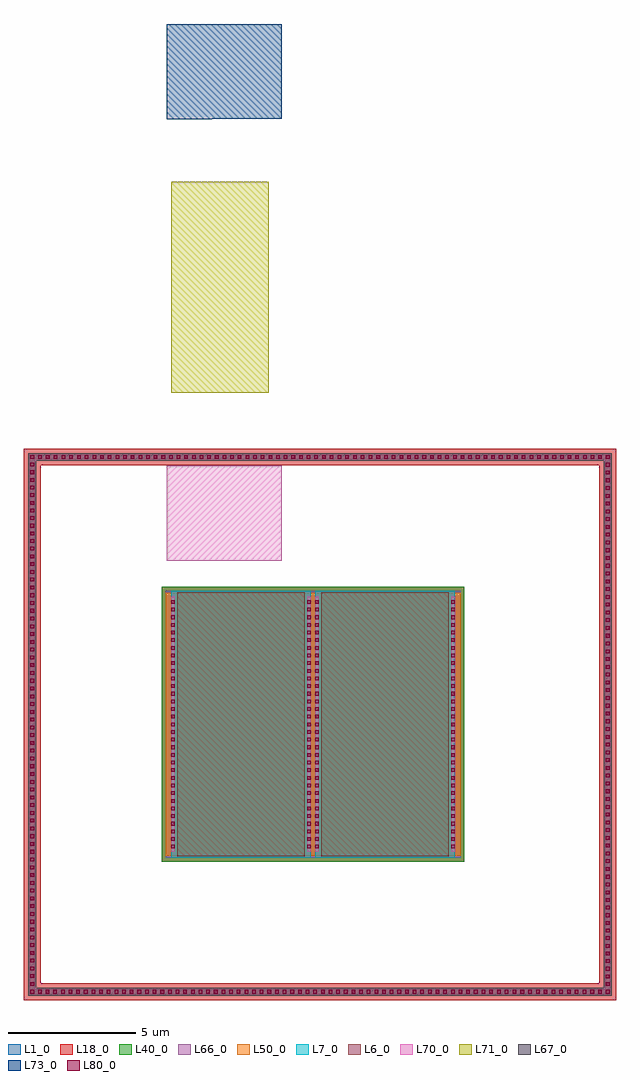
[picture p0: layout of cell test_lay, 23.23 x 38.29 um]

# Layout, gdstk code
import gdstk
lib = gdstk.Library(unit=1e-6, precision=1e-09)
def R(c, l, rs):  # rectangles x0, y0, x1, y1
    for r in rs: c.add(gdstk.rectangle(r[:2], r[2:], *l))
def A(c, l, x, y, w, h, nx, ny, dx, dy):  # array of equal rectangles
    R(c, l, [(x+i*dx, y+j*dy, x+i*dx+w, y+j*dy+h) for i in range(nx) for j in range(ny)])
L1_0 = (1, 0)
L6_0 = (6, 0)
L7_0 = (7, 0)
L18_0 = (18, 0)
L40_0 = (40, 0)
L50_0 = (50, 0)
L66_0 = (66, 0)
L67_0 = (67, 0)
L70_0 = (70, 0)
L71_0 = (71, 0)
L73_0 = (73, 0)
L80_0 = (80, 0)

contact_cdns_78145211178 = lib.new_cell('Contact_CDNS_781452111781')
R(contact_cdns_78145211178, L1_0, [(0,-0.13,0.15,9.87)])
R(contact_cdns_78145211178, L70_0, [(0,-0.13,0.15,9.87)])
A(contact_cdns_78145211178, L80_0, 0.005, 0, 0.14, 0.14, 1, 33, 0, 0.3)

nmos1v2hvt_4_cdns_781452 = lib.new_cell('nmos1v2hvt_4_CDNS_781452111780')
R(nmos1v2hvt_4_cdns_781452, L1_0, [(-0.3,0,0,10), (-0.3,0,5.3,10), (0,0,5,10), (5,0,5.3,10)])
R(nmos1v2hvt_4_cdns_781452, L6_0, [(0,-0.18,5,0), (0,0,5,10), (0,10,5,10.18)])
R(nmos1v2hvt_4_cdns_781452, L7_0, [(-0.24,-0.24,5.24,10.24)])
R(nmos1v2hvt_4_cdns_781452, L18_0, [(-0.6,-0.4,5.6,10.4)])
R(nmos1v2hvt_4_cdns_781452, L40_0, [(-0.6,-0.4,5.6,10.4)])
R(nmos1v2hvt_4_cdns_781452, L50_0, [(-0.46,-0.16,5.46,10.16)])
R(nmos1v2hvt_4_cdns_781452, L66_0, [(-0.46,-0.24,5.46,10.24)])
R(nmos1v2hvt_4_cdns_781452, L70_0, [(-0.245,0,-0.095,10), (5.095,0,5.245,10)])
nmos1v2hvt_4_cdns_781452.add(gdstk.Reference(contact_cdns_78145211178, (5.095,0.13)))
nmos1v2hvt_4_cdns_781452.add(gdstk.Reference(contact_cdns_78145211178, (-0.245,0.13)))

test_lay = lib.new_cell('test_lay')
R(test_lay, L70_0, [(1.145,12.035,2.895,15.765), (2.9,12.04,5.655,15.765)])
R(test_lay, L71_0, [(1.305,18.62,3.285,26.91), (3.29,18.62,5.135,26.91)])
R(test_lay, L73_0, [(1.145,29.36,2.895,33.09), (2.9,29.365,5.655,33.09)])
A(test_lay, L80_0, -4.21, -4.945, 0.14, 0.14, 60, 1, 0.3, 0)
A(test_lay, L80_0, 13.795, -4.945, 0.14, 0.14, 16, 1, 0.305, 0)
A(test_lay, L80_0, 18.37, -4.645, 0.14, 0.14, 1, 13, 0, 0.3)
A(test_lay, L80_0, -4.21, -4.64, 0.14, 0.14, 1, 56, 0, 0.305)
A(test_lay, L80_0, 18.37, -0.74, 0.14, 0.14, 1, 55, 0, 0.305)
A(test_lay, L80_0, -4.21, 12.435, 0.14, 0.14, 1, 12, 0, 0.3)
A(test_lay, L80_0, -4.21, 16.035, 0.14, 0.14, 9, 1, 0.305, 0)
A(test_lay, L80_0, -1.47, 16.035, 0.14, 0.14, 30, 1, 0.3, 0)
A(test_lay, L80_0, 7.535, 16.035, 0.14, 0.14, 8, 1, 0.305, 0)
A(test_lay, L80_0, 9.97, 16.035, 0.14, 0.14, 29, 1, 0.3, 0)
test_lay.add(gdstk.FlexPath([(7.15,16.105),(18.44,16.105),(18.44,-4.875),(-4.14,-4.875),(-4.14,16.105),(7.15,16.105)], 0.18, ends="flush", simple_path=True, layer=1, datatype=0))  # L1_0
test_lay.add(gdstk.FlexPath([(7.15,16.105),(18.44,16.105),(18.44,-4.875),(-4.14,-4.875),(-4.14,16.105),(7.15,16.105)], 0.29, ends="flush", simple_path=True, layer=70, datatype=0))  # L70_0
test_lay.add(gdstk.FlexPath([(7.15,16.105),(18.44,16.105),(18.44,-4.875),(-4.14,-4.875),(-4.14,16.105),(7.15,16.105)], 0.65, ends="flush", simple_path=True, layer=18, datatype=0))  # L18_0
test_lay.add(gdstk.FlexPath([(7.15,16.105),(18.44,16.105),(18.44,-4.875),(-4.14,-4.875),(-4.14,16.105),(7.15,16.105)], 0.3, ends="flush", simple_path=True, layer=67, datatype=0))  # L67_0
test_lay.add(gdstk.Reference(nmos1v2hvt_4_cdns_781452, (7.205,0.615)))
test_lay.add(gdstk.Reference(nmos1v2hvt_4_cdns_781452, (1.55,0.615)))

lib.write_gds('test_lay.gds')
